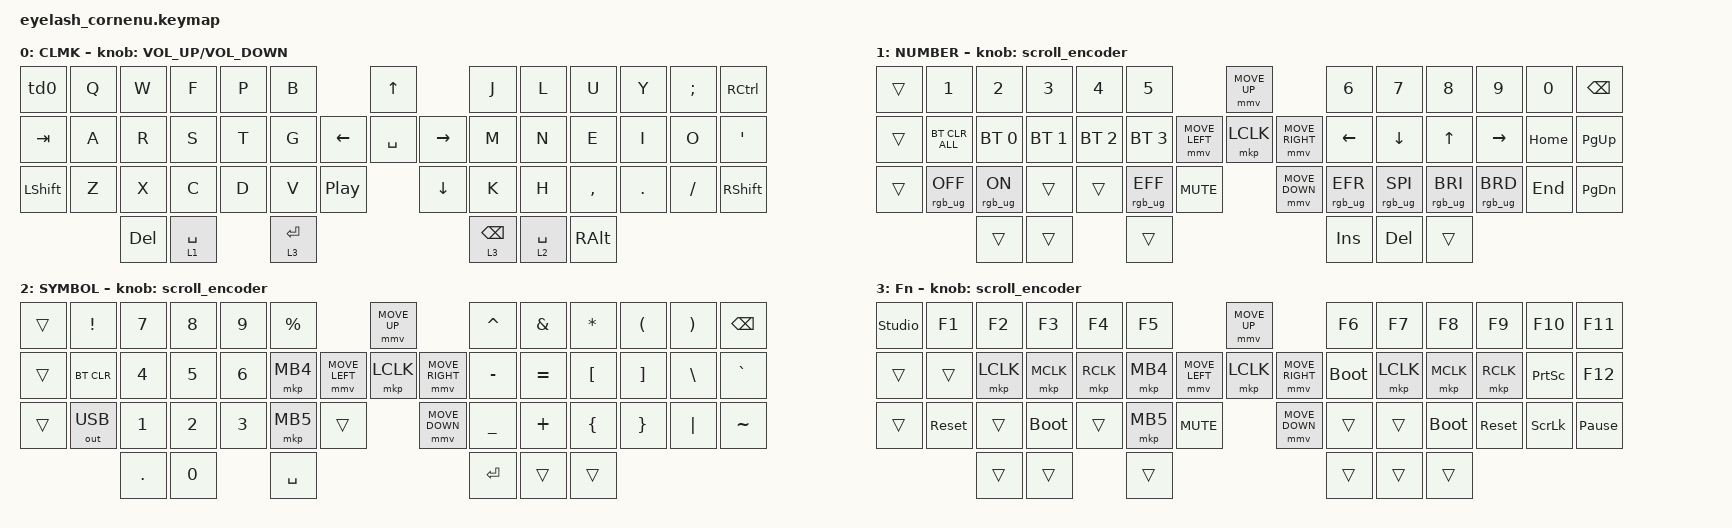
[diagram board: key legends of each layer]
#define ZMK_POINTING_DEFAULT_MOVE_VAL 1200  // 600
#define ZMK_POINTING_DEFAULT_SCRL_VAL 25   // 10

#include <input/processors.dtsi>
#include <zephyr/dt-bindings/input/input-event-codes.h>
#include <behaviors.dtsi>
#include <dt-bindings/zmk/bt.h>
#include <dt-bindings/zmk/keys.h>
#include <dt-bindings/zmk/outputs.h>
#include <dt-bindings/zmk/pointing.h>
#include <dt-bindings/zmk/rgb.h>

&mmv_input_listener { input-processors = <&zip_xy_scaler 2 1>; };

&msc_input_listener { input-processors = <&zip_scroll_scaler 2 1>; };

&msc {
    acceleration-exponent = <1>;      // 0
    time-to-max-speed-ms = <100>;       // 300
    delay-ms = <0>;                   // 0
};

&mmv {
    time-to-max-speed-ms = <500>;
    acceleration-exponent = <1>;
    trigger-period-ms = <16>;
};

&soft_off { hold-time-ms = <2000>; };

/ {
    behaviors {
        td0: td0 {
            compatible = "zmk,behavior-tap-dance";
            display-name = "Grave/ESC Tap Dance";
            #binding-cells = <0>;
            bindings = <&kp GRAVE>, <&kp ESC>;
        };

        td1: td1 {
            compatible = "zmk,behavior-tap-dance";
            display-name = "Tab/Caps Lock Tap Dance";
            #binding-cells = <0>;
            bindings = <&kp TAB>, <&kp CAPS>;
        };
    };

    rgb_encoder: rgb_encoder {
        compatible = "zmk,behavior-sensor-rotate";
        #sensor-binding-cells = <0>;
        bindings = <&rgb_ug RGB_BRI>, <&rgb_ug RGB_BRD>;
    };

    scroll_encoder: scroll_encoder {
        compatible = "zmk,behavior-sensor-rotate";
        #sensor-binding-cells = <0>;
        bindings = <&msc SCRL_DOWN>, <&msc SCRL_UP>;

        tap-ms = <100>;
    };

    combos {
        compatible = "zmk,combos";

        softoff {
            bindings = <&soft_off>;
            key-positions = <1 15 29>;
        };
    };

    keymap {
        compatible = "zmk,keymap";

        default_layer {
            display-name = "CLMK";
            bindings = <
&td0        &kp Q   &kp W   &kp F   &kp P   &kp B                            &kp UP                 &kp J       &kp L       &kp U       &kp Y    &kp SEMI   &kp RCTRL
&kp TAB     &kp A   &kp R   &kp S   &kp T   &kp G                &kp LEFT    &kp SPACE   &kp RIGHT  &kp M       &kp N       &kp E       &kp I    &kp O      &kp SQT
&kp LSHIFT  &kp Z   &kp X   &kp C   &kp D   &kp V    &kp C_PP                &kp DOWN               &kp K       &kp H       &kp COMMA   &kp DOT  &kp FSLH   &kp RSHIFT
                    &kp DEL &lt 1 SPACE     &lt 3 ENTER                                             &lt 3 BSPC  &lt 2 SPACE &kp RALT
            >;
             sensor-bindings = <&inc_dec_kp C_VOLUME_UP C_VOLUME_DOWN>;
        };

        lower_layer {
            display-name = "NUMBER";
            bindings = <
&trans  &kp N1           &kp N2          &kp N3        &kp N4        &kp N5                                         &mmv MOVE_UP                     &kp N6           &kp N7           &kp N8           &kp N9           &kp N0    &kp BSPC
&trans  &bt BT_CLR_ALL   &bt BT_SEL 0    &bt BT_SEL 1  &bt BT_SEL 2  &bt BT_SEL 3                   &mmv MOVE_LEFT  &mkp LCLK       &mmv MOVE_RIGHT  &kp LEFT         &kp DOWN         &kp UP           &kp RIGHT        &kp HOME  &kp PG_UP
&trans  &rgb_ug RGB_OFF  &rgb_ug RGB_ON  &trans        &trans        &rgb_ug RGB_EFF  &kp C_MUTE                    &mmv MOVE_DOWN                   &rgb_ug RGB_EFR  &rgb_ug RGB_SPI  &rgb_ug RGB_BRI  &rgb_ug RGB_BRD  &kp END   &kp PG_DN
                                         &trans        &trans        &trans                                                                          &kp INS          &kp DEL          &trans
            >;

            sensor-bindings = <&scroll_encoder>;
        };

        raise_layer {
            display-name = "SYMBOL";
            bindings = <
&trans  &kp EXCL      &kp N7    &kp N8  &kp N9  &kp PRCNT                            &mmv MOVE_UP                     &kp CARET  &kp AMPS   &kp ASTRK  &kp LPAR  &kp RPAR  &kp BSPC
&trans  &bt BT_CLR    &kp N4    &kp N5  &kp N6  &mkp MB4             &mmv MOVE_LEFT  &mkp LCLK       &mmv MOVE_RIGHT  &kp MINUS  &kp EQUAL  &kp LBKT   &kp RBKT  &kp BSLH  &kp GRAVE
&trans  &out OUT_USB  &kp N1    &kp N2  &kp N3  &mkp MB5   &trans                    &mmv MOVE_DOWN                   &kp UNDER  &kp PLUS   &kp LBRC   &kp RBRC  &kp PIPE  &kp TILDE
                                &kp DOT &kp N0  &kp SPACE                                                             &kp RET    &trans     &trans
            >;

            sensor-bindings = <&scroll_encoder>;
        };

        layer_3 {
            display-name = "Fn";
            bindings = <
&studio_unlock  &kp F1      &kp F2     &kp F3       &kp F4     &kp F5                                  &mmv MOVE_UP                     &kp F6       &kp F7     &kp F8       &kp F9      &kp F10          &kp F11
&trans          &trans      &mkp LCLK  &mkp MCLK    &mkp RCLK  &mkp MB4                &mmv MOVE_LEFT  &mkp LCLK       &mmv MOVE_RIGHT  &bootloader  &mkp LCLK  &mkp MCLK    &mkp RCLK   &kp PRINTSCREEN  &kp F12
&trans          &sys_reset  &trans     &bootloader  &trans     &mkp MB5  &kp C_MUTE                    &mmv MOVE_DOWN                   &trans       &trans     &bootloader  &sys_reset  &kp SCROLLLOCK   &kp PAUSE_BREAK
                                       &trans       &trans     &trans                                                                   &trans       &trans     &trans
            >;

            sensor-bindings = <&scroll_encoder>;
        };
    };
};
